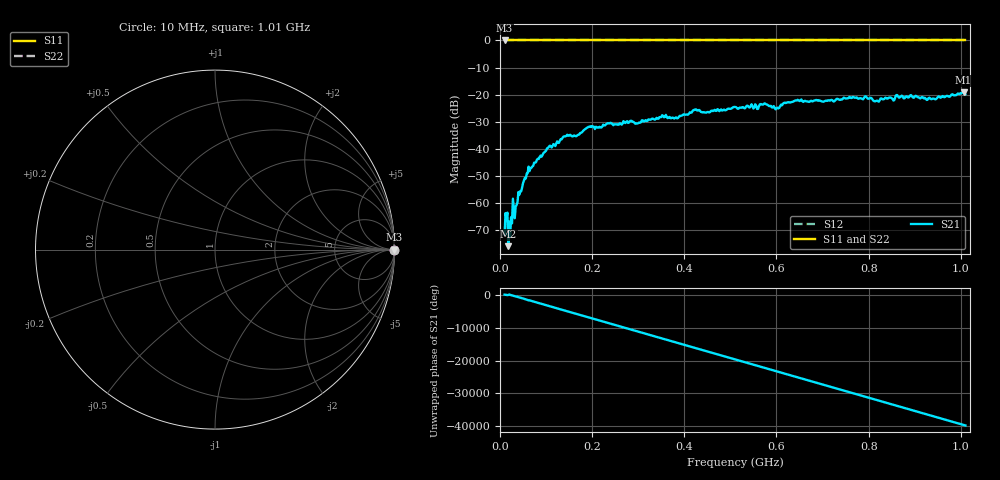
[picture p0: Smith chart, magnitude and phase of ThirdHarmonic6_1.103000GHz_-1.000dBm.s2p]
! 8/16/2025 10:24:25 AM
! C:\ANRITSUVNA\TEMP\TEMP.S2P
! CHANNEL.1
! TR.MEASUREMENT
! RAW.DATA
! RF.CORRECTION.OFF
! AVERAGING.OFF
! IF.BANDWIDTH: 5KHZ
! SWEEPTYPE:  FREQ.SWEEP(Linear)
! Reference Plane Port Info
! PORT:  PORT1  PORT2
! DISTANCE:  0  m  0  m
! TIME:  0  s  0  s
! PHASE.OFFSET:  0  deg.  0  deg.
! LOSS:  0  dB  0  dB
! REF.LOSS:  0  dB  0  dB
! REF.FREQ:  0  Hz  0  Hz
! Power Info
! POWER:  -20  dBm  -20  dBm
! EFF.POWER:  -20  dBm  -20  dBm
! SOURCE.ATTEN:  0  dB  0  dB
! TEST.ATTEN:  0  dB  0  dB
# GHZ S RI R 50.0
! FREQ.GHZ  S11RE  S11IM  S21RE  S21IM  S12RE  S12IM  S22RE  S22IM
!; PortSelection: Port_12
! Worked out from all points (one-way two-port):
!   501 points, 10 MHz to 1.01 GHz, reference 50 ohm
!   highest |S21| = -19.07 dB at 1.006 GHz (marker M1); lowest = -75.9 dB at 18 MHz (marker M2)
!   lowest |S11| = 0.0 dB at 10 MHz (marker M3)
!   |S11| at or under -10 dB: nowhere
!   |S22| runs from 0.0 to 0.0 dB; largest |S21 - S12| = 1.1
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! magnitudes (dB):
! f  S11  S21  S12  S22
! 10 MHz  0.0  -71.7  0.0  0.0
! 16 MHz  0.0  -63.6  0.0  0.0
! 18 MHz  0.0  -75.9  0.0  0.0
! 22 MHz  0.0  -72.6  0.0  0.0
! 24 MHz  0.0  -65.2  0.0  0.0
! 32 MHz  0.0  -65.6  0.0  0.0
! 58 MHz  0.0  -49.1  0.0  0.0
! 66 MHz  0.0  -47.1  0.0  0.0
! 106 MHz  0.0  -39.3  0.0  0.0
! 142 MHz  0.0  -35.4  0.0  0.0
! 178 MHz  0.0  -33.9  0.0  0.0
! 196 MHz  0.0  -31.7  0.0  0.0
! 344 MHz  0.0  -28.9  0.0  0.0
! 510 MHz  0.0  -24.6  0.0  0.0
! 576 MHz  0.0  -23.4  0.0  0.0
! 602 MHz  0.0  -24.8  0.0  0.0
! 642 MHz  0.0  -22.1  0.0  0.0
! 678 MHz  0.0  -22.5  0.0  0.0
! 844 MHz  0.0  -21.1  0.0  0.0
! 942 MHz  0.0  -21.5  0.0  0.0
! 1.006 GHz  0.0  -19.1  0.0  0.0
! 1.01 GHz  0.0  -19.9  0.0  0.0
